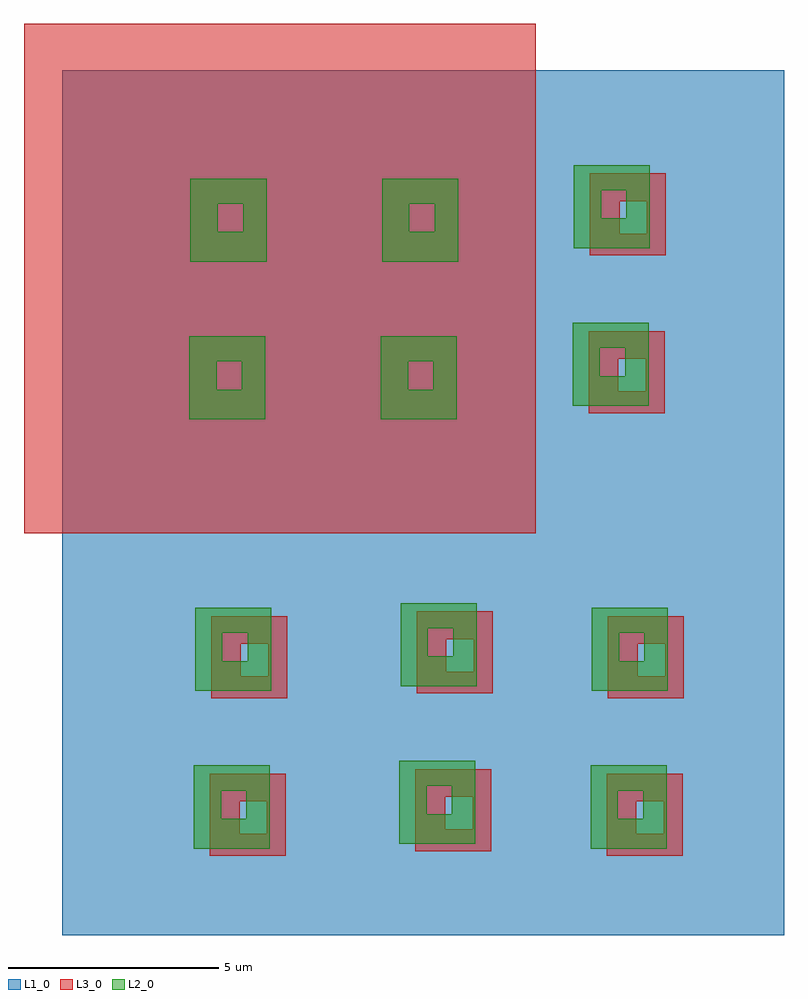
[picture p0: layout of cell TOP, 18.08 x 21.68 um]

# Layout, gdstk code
from math import pi, radians
import gdstk
lib = gdstk.Library(unit=1e-6, precision=1e-09)
def R(c, l, rs):  # rectangles x0, y0, x1, y1
    for r in rs: c.add(gdstk.rectangle(r[:2], r[2:], *l))
def P(c, l, *ps):  # polygons
    for p in ps: c.add(gdstk.Polygon(p, *l))
L1_0 = (1, 0)
L2_0 = (2, 0)
L3_0 = (3, 0)

c_c = lib.new_cell('C')
P(c_c, L1_0, [(-0.98,-0.76),(-0.98,0.64),(-0.45,0.64),(-0.45,-0.13),(0.28,-0.13),(0.28,0.64),(-0.98,0.64),(-0.98,1.02),(0.95,1.02),(0.95,-0.76)])
P(c_c, L2_0, [(-0.87,-0.98),(-0.87,0.27),(-0.27,0.27),(-0.27,-0.33),(0.4,-0.33),(0.4,0.27),(-0.87,0.27),(-0.87,0.83),(1.11,0.83),(1.11,-0.98)])
P(c_c, L3_0, [(-0.67,-0.6),(-0.67,0.76),(-0.01,0.76),(-0.01,0.11),(0.76,0.11),(0.76,0.76),(-0.67,0.76),(-0.67,1.21),(1.28,1.21),(1.28,-0.6)])

c_b = lib.new_cell('B')
r = gdstk.Reference(c_c, (1.74,1.62), rotation=pi/2); r.repetition = gdstk.Repetition(1, 1, v1=(0,0), v2=(0,0)); c_b.add(r)
r = gdstk.Reference(c_c, (1.77,5.37), rotation=pi/2); r.repetition = gdstk.Repetition(1, 1, v1=(0,0), v2=(0,0)); c_b.add(r)

c_a = lib.new_cell('A')
R(c_a, L1_0, [(-0.7,-0.91,19.88,16.26)])
R(c_a, L3_0, [(8.86,4.99,20.98,17.17)])
r = gdstk.Reference(c_b, (7.84,0.94), rotation=pi/2); r.repetition = gdstk.Repetition(1, 1, v1=(0,0), v2=(0,0)); c_a.add(r)
r = gdstk.Reference(c_b, (7.95,5.49), rotation=pi/2); r.repetition = gdstk.Repetition(1, 1, v1=(0,0), v2=(0,0)); c_a.add(r)
r = gdstk.Reference(c_b, (7.84,10.38), rotation=pi/2); r.repetition = gdstk.Repetition(1, 1, v1=(0,0), v2=(0,0)); c_a.add(r)
r = gdstk.Reference(c_b, (18.37,1.37), rotation=pi/2); r.repetition = gdstk.Repetition(1, 1, v1=(0,0), v2=(0,0)); c_a.add(r)
r = gdstk.Reference(c_b, (18.05,5.93), rotation=pi/2); r.repetition = gdstk.Repetition(1, 1, v1=(0,0), v2=(0,0)); c_a.add(r)
r = gdstk.Reference(c_b, (18.05,10.49), rotation=pi/2); r.repetition = gdstk.Repetition(1, 1, v1=(0,0), v2=(0,0)); c_a.add(r)

top = lib.new_cell('TOP')
r = gdstk.Reference(c_a, (14.93,-0.17), rotation=pi/2); r.repetition = gdstk.Repetition(1, 1, v1=(0,0), v2=(0,0)); top.add(r)

lib.write_gds('TOP.gds')
